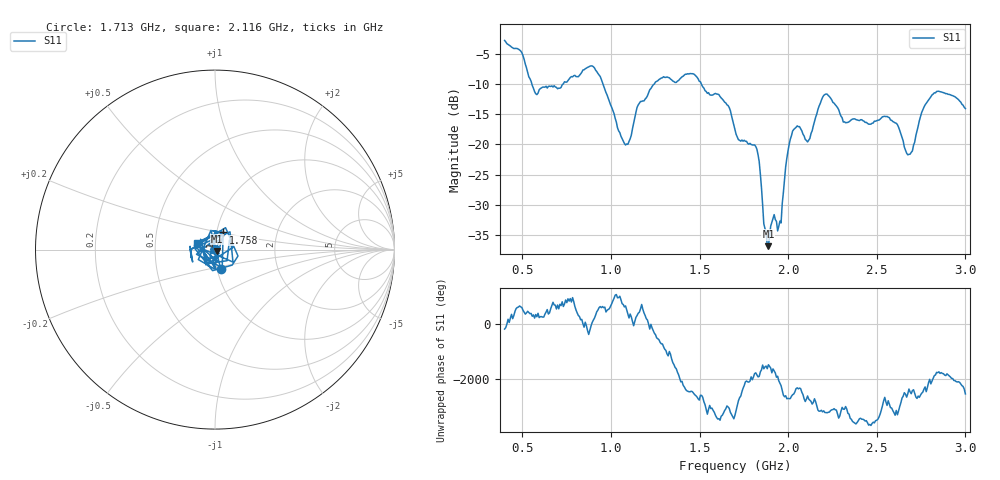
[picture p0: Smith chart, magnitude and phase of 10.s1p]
!Created with skrf (http://scikit-rf.org).
# Hz S RI R 50.0
!freq ReS11 ImS11
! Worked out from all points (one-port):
!   401 points, 400 MHz to 3 GHz, reference 50 ohm
!   lowest |S11| = -36.8 dB at 1.889 GHz (marker M1), VSWR 1.03, Z = 51.2 - j0.787 ohm
!   |S11| at or under -10 dB: 553.5 MHz to 731.6 MHz (178.1 MHz wide, 27.7 % of centre); 954.3 MHz to 1.246 GHz (291.3 MHz wide, 26.5 % of centre); 1.51 GHz to end of sweep
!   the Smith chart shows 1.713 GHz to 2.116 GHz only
!   S11 on the Smith chart (normalised r, x): 1.713 GHz: 1.04, -0.23; 1.758 GHz: 1.07, +0.21; 2.116 GHz: 0.81, +0.06
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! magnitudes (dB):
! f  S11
! 400 MHz  -2.8
! 491 MHz  -4.6
! 575.5 MHz  -11.6
! 725 MHz  -10.1
! 900.5 MHz  -7.2
! 1.05 GHz  -18.0
! 1.095 GHz  -20.0
! 1.154 GHz  -13.5
! 1.258 GHz  -9.6
! 1.375 GHz  -9.6
! 1.472 GHz  -8.5
! 1.655 GHz  -13.5
! 1.7 GHz  -17.5
! 1.713 GHz  -18.8
! 1.758 GHz  -19.5
! 1.823 GHz  -20.8
! 1.869 GHz  -33.9
! 1.889 GHz  -36.8
! 1.954 GHz  -32.6
! 1.999 GHz  -21.1
! 2.025 GHz  -17.8
! 2.116 GHz  -19.3
! 2.207 GHz  -11.8
! 2.35 GHz  -16.1
! 2.558 GHz  -15.4
! 2.675 GHz  -21.7
! 2.825 GHz  -11.5
! 3 GHz  -14.1
